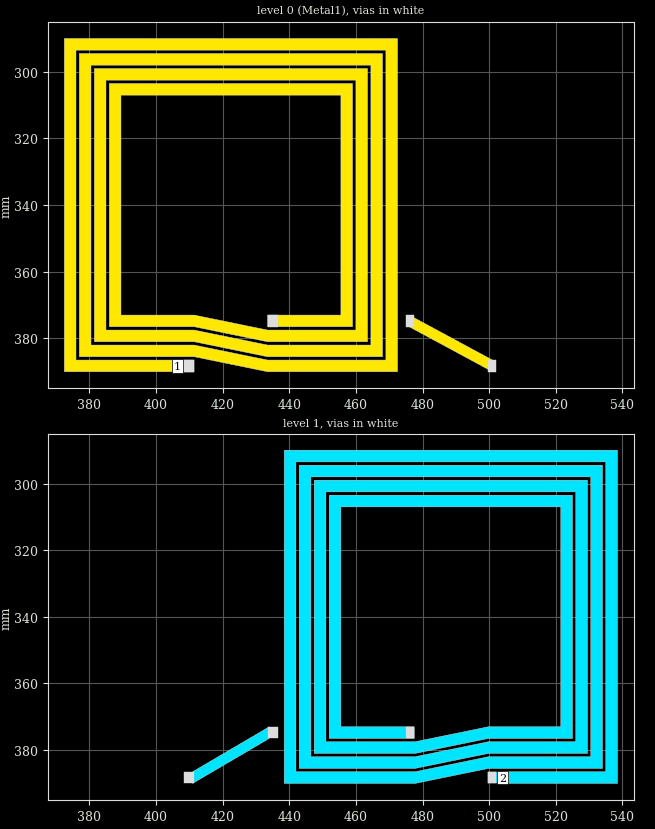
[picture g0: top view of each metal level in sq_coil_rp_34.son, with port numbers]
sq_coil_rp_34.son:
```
FTYP SONPROJ 18 ! Sonnet Project File
VER 17.56
HEADER
LIC Sonn.1.12345 a8a159aaaac1 DESKTOP-AOHDA0A mean1 FullLicense
DAT 04/23/2023 14:10:25
BUILT_BY_CREATED xgeom 18.53-Lite 12/10/2022 14:39:05
BUILT_BY_SAVED sonnet 17.56
MDATE 04/23/2023 14:10:25
HDATE 04/23/2023 14:10:25
END HEADER
DIM
ANG DEG
CAP PF
CON /OH
FREQ GHZ
IND NH
LNG MM
RES OH
END DIM
CONTROL
VARSWP
OPTIONS  -d
SPEED 0
CACHE_ABS 2
Q_ACC N
END CONTROL
GEO
TMET "Lossless" 0 SUP 0 0 0 0
BMET "Lossless" 0 SUP 0 0 0 0
BOX 2 1000 1000 4000 4000 20 0
      300 1 1 0 0 0 0 "Air"
      1.6 4.4 1 0.02 0 0 0 "FR4"
      300 1 1 0 0 0 0 "AIR"
TECHLAY METAL Metal1 <UNSPECIFIED> -2 -65534 
0 0 -1 N 383 1 1 100 100 0 0 0 Y
END
END
LORGN 0 6.35 U 
POR1 GAP
POLY 395 1
1
1 50 0 0 0 406.5 388.25 
POR1 GAP
POLY 400 1
3
2 50 0 0 0 504 388.25 
NUM 10
0 5 -1 N 351 1 1 100 100 0 0 0 Y
TLAYNAM Metal1 INH
476 373
501 386.5
501 390
476 376.5
476 373
END
0 5 -1 N 395 1 1 100 100 0 0 0 Y
TLAYNAM Metal1 INH
411.5 386.5
406.5 386.5
406.5 390
411.5 390
411.5 386.5
END
0 50 -1 N 396 1 1 100 100 0 0 0 Y
TLAYNAM Metal1 INH
472.5 290
372.5 290
372.5 390
406.5 390
406.5 386.5
376 386.5
376 293.5
469 293.5
469 386.5
433.5 386.5
411.5 382
380.5 382
380.5 298
464.5 298
464.5 382
433.5 382
411.5 377.5
385 377.5
385 302.5
460 302.5
460 377.5
433.5 377.5
411.5 373
389.5 373
389.5 307
455.5 307
455.5 373
433.5 373
433.5 376.5
459 376.5
459 303.5
386 303.5
386 307
386 376.5
411.5 376.5
433.5 381
463.5 381
463.5 299
381.5 299
381.5 381
411.5 381
433.5 385.5
468 385.5
468 294.5
377 294.5
377 385.5
411.5 385.5
433.5 390
472.5 390
472.5 290
END
VIA POLYGON
0 5 -1 N 294 1 1 100 100 0 0 0 Y
TOLEVEL 1 RING NOCOVERS
433.5 373
436.5 373
436.5 376.5
433.5 376.5
433.5 373
END
VIA POLYGON
0 5 -1 N 295 1 1 100 100 0 0 0 Y
TOLEVEL 1 RING NOCOVERS
408.5 386.5
411.5 386.5
411.5 390
408.5 390
408.5 386.5
END
VIA POLYGON
0 5 -1 N 373 1 1 100 100 0 0 0 Y
TOLEVEL 1 RING NOCOVERS
475 373
477.5 373
477.5 376.5
475 376.5
475 373
END
VIA POLYGON
0 5 -1 N 374 1 1 100 100 0 0 0 Y
TOLEVEL 1 RING NOCOVERS
499.75 386.5
502 386.5
502 390
499.75 390
499.75 386.5
END
1 5 -1 N 296 1 1 100 100 0 0 0 Y
434 373
411 386.5
411 390
434 376.5
434 373
END
1 5 -1 N 400 1 1 100 100 0 0 0 Y
504 386.5
499.75 386.5
499.75 390
504 390
504 386.5
END
1 49 -1 N 401 1 1 100 100 0 0 0 Y
538.5 290
438.5 290
438.5 390
477.75 390
499.75 385.5
534 385.5
534 294.5
443 294.5
443 385.5
477.75 385.5
499.75 381
529.5 381
529.5 299
447.5 299
447.5 381
477.75 381
499.75 376.5
525 376.5
525 303.5
452 303.5
452 376.5
477.5 376.5
477.5 373
455.5 373
455.5 307
521.5 307
521.5 373
499.75 373
477.75 377.5
451 377.5
451 302.5
526 302.5
526 377.5
499.75 377.5
477.75 382
446.5 382
446.5 298
530.5 298
530.5 382
499.75 382
477.75 386.5
442 386.5
442 293.5
535 293.5
535 386.5
504 386.5
504 390
538.5 390
538.5 290
END
END GEO
OPT
MAX 100
END OPT
VARSWP
ENABLED Y
FREQ N AY ABS_ENTRY UNK 
FREQ N AN STEP 0.0135
FREQ Y AN SWEEP 0.013 0.014 0.001
END
END VARSWP
FILEOUT
TOUCH D Y $BASENAME.s2p IC 15 S RI R 50.00000
FOLDER .
END FILEOUT
```
